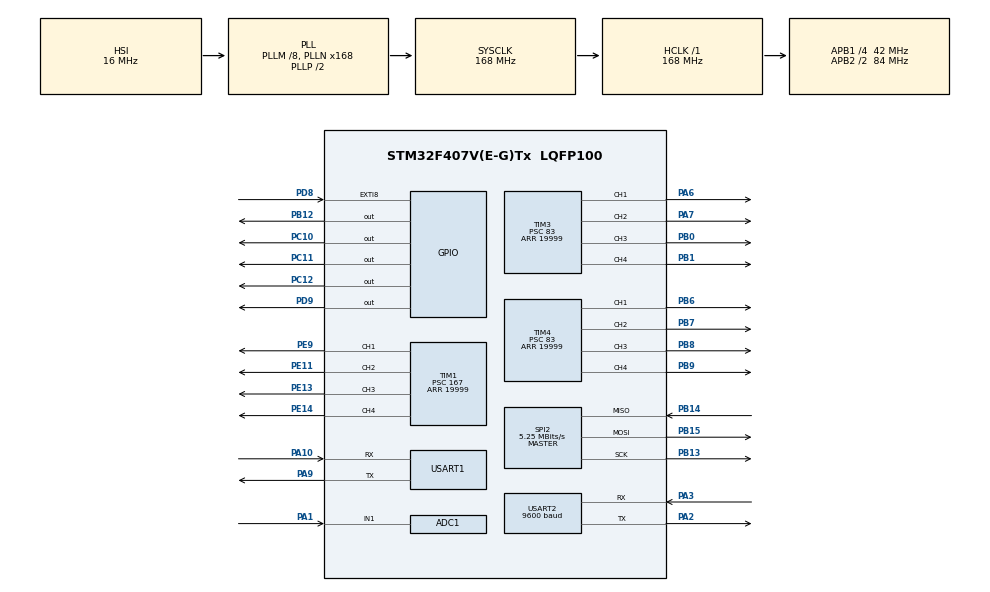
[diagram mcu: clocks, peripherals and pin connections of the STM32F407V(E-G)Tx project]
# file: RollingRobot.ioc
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ADC1.Channel-3\#ChannelRegularConversion=ADC_CHANNEL_1
ADC1.ClockPrescaler=ADC_CLOCK_SYNC_PCLK_DIV6
ADC1.ContinuousConvMode=DISABLE
ADC1.DMAContinuousRequests=ENABLE
ADC1.EnableAnalogWatchDog=false
ADC1.ExternalTrigConv=ADC_EXTERNALTRIGCONV_T8_TRGO
ADC1.NbrOfConversion=1
ADC1.NbrOfConversionFlag=1
ADC1.Rank-3\#ChannelRegularConversion=1
ADC1.SamplingTime-3\#ChannelRegularConversion=ADC_SAMPLETIME_144CYCLES
ADC1.master=1
Dma.ADC1.0.Direction=DMA_PERIPH_TO_MEMORY
Dma.ADC1.0.FIFOMode=DMA_FIFOMODE_DISABLE
Dma.ADC1.0.Instance=DMA2_Stream0
Dma.ADC1.0.MemDataAlignment=DMA_MDATAALIGN_HALFWORD
Dma.ADC1.0.MemInc=DMA_MINC_ENABLE
Dma.ADC1.0.Mode=DMA_CIRCULAR
Dma.ADC1.0.PeriphDataAlignment=DMA_PDATAALIGN_HALFWORD
Dma.ADC1.0.PeriphInc=DMA_PINC_DISABLE
Dma.ADC1.0.Priority=DMA_PRIORITY_LOW
Dma.Request0=ADC1
FREERTOS.Tasks01=defaultTask,24,128,StartDefaultTask,Default,NULL,Dynamic,NULL,NULL
Mcu.Family=STM32F4
Mcu.Name=STM32F407V(E-G)Tx
Mcu.Package=LQFP100
NVIC.DMA2_Stream0_IRQn=true\:5\:0\:false\:false\:true\:true\:false\:true\:true
NVIC.EXTI9_5_IRQn=true\:5\:0\:false\:false\:true\:true\:true\:true\:true
NVIC.PriorityGroup=NVIC_PRIORITYGROUP_4
NVIC.TIM8_TRG_COM_TIM14_IRQn=true\:5\:0\:false\:false\:true\:false\:false\:true\:true
NVIC.TimeBase=TIM8_TRG_COM_TIM14_IRQn
NVIC.TimeBaseIP=TIM14
NVIC.USART2_IRQn=true\:5\:0\:true\:false\:true\:true\:true\:true\:true
PA1.Signal=ADCx_IN1
PA10.Mode=Asynchronous
PA10.Signal=USART1_RX
PA13.Mode=Serial_Wire
PA13.Signal=SYS_JTMS-SWDIO
PA14.Mode=Serial_Wire
PA14.Signal=SYS_JTCK-SWCLK
PA2.Mode=Asynchronous
PA2.Signal=USART2_TX
PA3.Mode=Asynchronous
PA3.Signal=USART2_RX
PA6.Signal=S_TIM3_CH1
PA7.Signal=S_TIM3_CH2
PA9.Mode=Asynchronous
PA9.Signal=USART1_TX
PB0.Signal=S_TIM3_CH3
PB1.Signal=S_TIM3_CH4
PB12.Signal=GPIO_Output
PB13.Mode=Full_Duplex_Master
PB13.Signal=SPI2_SCK
PB14.Mode=Full_Duplex_Master
PB14.Signal=SPI2_MISO
PB15.Mode=Full_Duplex_Master
PB15.Signal=SPI2_MOSI
PB6.Signal=S_TIM4_CH1
PB7.Signal=S_TIM4_CH2
PB8.Signal=S_TIM4_CH3
PB9.Signal=S_TIM4_CH4
PC10.GPIO_ModeDefaultOutputPP=GPIO_MODE_OUTPUT_OD
PC10.GPIO_PuPd=GPIO_NOPULL
PC10.GPIO_Speed=GPIO_SPEED_FREQ_HIGH
PC10.Signal=GPIO_Output
PC11.GPIO_ModeDefaultOutputPP=GPIO_MODE_OUTPUT_OD
PC11.GPIO_PuPd=GPIO_NOPULL
PC11.GPIO_Speed=GPIO_SPEED_FREQ_HIGH
PC11.Signal=GPIO_Output
PC12.GPIO_Speed=GPIO_SPEED_FREQ_HIGH
PC12.Signal=GPIO_Output
PD8.GPIO_ModeDefaultEXTI=GPIO_MODE_IT_FALLING
PD8.GPIO_PuPd=GPIO_PULLUP
PD8.Signal=GPXTI8
PD9.GPIO_Speed=GPIO_SPEED_FREQ_HIGH
PD9.Signal=GPIO_Output
PE11.Signal=S_TIM1_CH2
PE13.Signal=S_TIM1_CH3
PE14.Signal=S_TIM1_CH4
PE9.Signal=S_TIM1_CH1
PH0-OSC_IN.Mode=HSE-External-Oscillator
PH0-OSC_IN.Signal=RCC_OSC_IN
PH1-OSC_OUT.Mode=HSE-External-Oscillator
PH1-OSC_OUT.Signal=RCC_OSC_OUT
ProjectManager.HeapSize=0x200
ProjectManager.StackSize=0x400
ProjectManager.TargetToolchain=MDK-ARM V5.27
RCC.48MHZClocksFreq_Value=84000000
RCC.AHBFreq_Value=168000000
RCC.APB1CLKDivider=RCC_HCLK_DIV4
RCC.APB1Freq_Value=42000000
RCC.APB1TimFreq_Value=84000000
RCC.APB2CLKDivider=RCC_HCLK_DIV2
RCC.APB2Freq_Value=84000000
RCC.APB2TimFreq_Value=168000000
RCC.CortexFreq_Value=168000000
RCC.HCLKFreq_Value=168000000
RCC.HSE_VALUE=8000000
RCC.HSI_VALUE=16000000
RCC.LSE_VALUE=32768
RCC.PLLM=8
RCC.PLLN=168
RCC.SYSCLKFreq_VALUE=168000000
RCC.SYSCLKSource=RCC_SYSCLKSOURCE_PLLCLK
RCC.VCOOutputFreq_Value=336000000
SH.ADCx_IN1.0=ADC1_IN1,IN1
SH.S_TIM1_CH1.0=TIM1_CH1,PWM Generation1 CH1
SH.S_TIM1_CH2.0=TIM1_CH2,PWM Generation2 CH2
SH.S_TIM1_CH3.0=TIM1_CH3,PWM Generation3 CH3
SH.S_TIM1_CH4.0=TIM1_CH4,PWM Generation4 CH4
SH.S_TIM3_CH1.0=TIM3_CH1,PWM Generation1 CH1
SH.S_TIM3_CH2.0=TIM3_CH2,PWM Generation2 CH2
SH.S_TIM3_CH3.0=TIM3_CH3,PWM Generation3 CH3
SH.S_TIM3_CH4.0=TIM3_CH4,PWM Generation4 CH4
SH.S_TIM4_CH1.0=TIM4_CH1,PWM Generation1 CH1
SH.S_TIM4_CH2.0=TIM4_CH2,PWM Generation2 CH2
SH.S_TIM4_CH3.0=TIM4_CH3,PWM Generation3 CH3
SH.S_TIM4_CH4.0=TIM4_CH4,PWM Generation4 CH4
SPI2.BaudRatePrescaler=SPI_BAUDRATEPRESCALER_8
SPI2.CalculateBaudRate=5.25 MBits/s
SPI2.Direction=SPI_DIRECTION_2LINES
SPI2.Mode=SPI_MODE_MASTER
SPI2.VirtualType=VM_MASTER
TIM1.AutoReloadPreload=TIM_AUTORELOAD_PRELOAD_DISABLE
TIM1.Channel-PWM\ Generation1\ CH1=TIM_CHANNEL_1
TIM1.Channel-PWM\ Generation2\ CH2=TIM_CHANNEL_2
TIM1.Channel-PWM\ Generation3\ CH3=TIM_CHANNEL_3
TIM1.Channel-PWM\ Generation4\ CH4=TIM_CHANNEL_4
TIM1.Period=19999
TIM1.Prescaler=167
TIM3.AutoReloadPreload=TIM_AUTORELOAD_PRELOAD_DISABLE
TIM3.Channel-PWM\ Generation1\ CH1=TIM_CHANNEL_1
TIM3.Channel-PWM\ Generation2\ CH2=TIM_CHANNEL_2
TIM3.Channel-PWM\ Generation3\ CH3=TIM_CHANNEL_3
TIM3.Channel-PWM\ Generation4\ CH4=TIM_CHANNEL_4
TIM3.Period=19999
TIM3.Prescaler=83
TIM4.AutoReloadPreload=TIM_AUTORELOAD_PRELOAD_DISABLE
TIM4.Channel-PWM\ Generation1\ CH1=TIM_CHANNEL_1
TIM4.Channel-PWM\ Generation2\ CH2=TIM_CHANNEL_2
TIM4.Channel-PWM\ Generation3\ CH3=TIM_CHANNEL_3
TIM4.Channel-PWM\ Generation4\ CH4=TIM_CHANNEL_4
TIM4.Period=19999
TIM4.Prescaler=83
TIM8.Period=99
TIM8.Prescaler=16799
TIM8.TIM_MasterOutputTrigger=TIM_TRGO_UPDATE
TIM8.TIM_MasterSlaveMode=TIM_MASTERSLAVEMODE_DISABLE
USART1.VirtualMode=VM_ASYNC
USART2.BaudRate=9600
USART2.VirtualMode=VM_ASYNC
VP_FREERTOS_VS_CMSIS_V2.Mode=CMSIS_V2
VP_SYS_VS_tim14.Mode=TIM14
VP_TIM8_VS_ClockSourceINT.Mode=Internal
board=custom

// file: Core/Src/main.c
/* USER CODE BEGIN Header */
/**
  ******************************************************************************
  * @file           : main.c
  * @brief          : Main program body
  ******************************************************************************
  * @attention
  *
  * Copyright (c) 2025 STMicroelectronics.
  * All rights reserved.
  *
  * This software is licensed under terms that can be found in the LICENSE file
  * in the root directory of this software component.
  * If no LICENSE file comes with this software, it is provided AS-IS.
  *
  ******************************************************************************
  */
/* USER CODE END Header */
#include "main.h"
#include "cmsis_os.h"
#include "adc.h"
#include "dma.h"
#include "spi.h"
#include "tim.h"
#include "usart.h"
#include "gpio.h"

/* USER CODE BEGIN Includes */
#include "oled.h"
#include "debug_printf.h"
#include "delay_us.h"
/* USER CODE END Includes */

void SystemClock_Config(void);
void MX_FREERTOS_Init(void);

int main(void)
{

  /* MCU Configuration--------------------------------------------------------*/

  /* Reset of all peripherals, Initializes the Flash interface and the Systick. */
  HAL_Init();

  /* Configure the system clock */
  SystemClock_Config();

  /* Initialize all configured peripherals */
  MX_GPIO_Init();
  MX_DMA_Init();
  MX_USART1_UART_Init();
  MX_USART2_UART_Init();
  MX_SPI2_Init();
  MX_ADC1_Init();
  MX_TIM8_Init();
  MX_TIM1_Init();
  MX_TIM3_Init();
  MX_TIM4_Init();
  /* USER CODE BEGIN 2 */
	dwt_init();
	oled_init();
	oled_clear();

	HAL_Delay(500);

//	debug_printf("Init Success\r\n");

  /* USER CODE END 2 */

  /* Init scheduler */
  osKernelInitialize();

  /* Call init function for freertos objects (in cmsis_os2.c) */
  MX_FREERTOS_Init();

  /* Start scheduler */
  osKernelStart();

  /* We should never get here as control is now taken by the scheduler */

  /* Infinite loop */
  while (1)
  {

  }
}

void SystemClock_Config(void)
{
  RCC_OscInitTypeDef RCC_OscInitStruct = {0};
  RCC_ClkInitTypeDef RCC_ClkInitStruct = {0};

  /** Configure the main internal regulator output voltage
  */
  __HAL_RCC_PWR_CLK_ENABLE();
  __HAL_PWR_VOLTAGESCALING_CONFIG(PWR_REGULATOR_VOLTAGE_SCALE1);

  /** Initializes the RCC Oscillators according to the specified parameters
  * in the RCC_OscInitTypeDef structure.
  */
  RCC_OscInitStruct.OscillatorType = RCC_OSCILLATORTYPE_HSI;
  RCC_OscInitStruct.HSIState = RCC_HSI_ON;
  RCC_OscInitStruct.HSICalibrationValue = RCC_HSICALIBRATION_DEFAULT;
  RCC_OscInitStruct.PLL.PLLState = RCC_PLL_ON;
  RCC_OscInitStruct.PLL.PLLSource = RCC_PLLSOURCE_HSI;
  RCC_OscInitStruct.PLL.PLLM = 8;
  RCC_OscInitStruct.PLL.PLLN = 168;
  RCC_OscInitStruct.PLL.PLLP = RCC_PLLP_DIV2;
  RCC_OscInitStruct.PLL.PLLQ = 4;
  if (HAL_RCC_OscConfig(&RCC_OscInitStruct) != HAL_OK)
  {
    Error_Handler();
  }

  /** Initializes the CPU, AHB and APB buses clocks
  */
  RCC_ClkInitStruct.ClockType = RCC_CLOCKTYPE_HCLK|RCC_CLOCKTYPE_SYSCLK
                              |RCC_CLOCKTYPE_PCLK1|RCC_CLOCKTYPE_PCLK2;
  RCC_ClkInitStruct.SYSCLKSource = RCC_SYSCLKSOURCE_PLLCLK;
  RCC_ClkInitStruct.AHBCLKDivider = RCC_SYSCLK_DIV1;
  RCC_ClkInitStruct.APB1CLKDivider = RCC_HCLK_DIV4;
  RCC_ClkInitStruct.APB2CLKDivider = RCC_HCLK_DIV2;

  if (HAL_RCC_ClockConfig(&RCC_ClkInitStruct, FLASH_LATENCY_5) != HAL_OK)
  {
    Error_Handler();
  }
}

void HAL_TIM_PeriodElapsedCallback(TIM_HandleTypeDef *htim)
{
  if (htim->Instance == TIM14) {
    HAL_IncTick();
  }
}

void Error_Handler(void)
{
  __disable_irq();
  while (1)
  {
  }
}

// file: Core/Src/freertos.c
/* USER CODE BEGIN Header */
/**
  ******************************************************************************
  * File Name          : freertos.c
  * Description        : Code for freertos applications
  ******************************************************************************
  * @attention
  *
  * Copyright (c) 2025 STMicroelectronics.
  * All rights reserved.
  *
  * This software is licensed under terms that can be found in the LICENSE file
  * in the root directory of this software component.
  * If no LICENSE file comes with this software, it is provided AS-IS.
  *
  ******************************************************************************
  */
/* USER CODE END Header */

#include "FreeRTOS.h"
#include "task.h"
#include "main.h"
#include "cmsis_os.h"

/* USER CODE BEGIN Includes */
#include "oled.h"
#include "wit_imu.h"
#include "nrf_recv.h"
#include "nrf_send.h"
#include "pump_charge.h"
#include "servo_move.h"
/* USER CODE END Includes */

/* Definitions for defaultTask */
osThreadId_t defaultTaskHandle;
const osThreadAttr_t defaultTask_attributes = {
  .name = "defaultTask",
  .stack_size = 128 * 4,
  .priority = (osPriority_t) osPriorityNormal,
};

void StartDefaultTask(void *argument);

void MX_FREERTOS_Init(void); /* (MISRA C 2004 rule 8.1) */

void MX_FREERTOS_Init(void) {
  /* USER CODE BEGIN Init */
//	oled_init();
//	oled_clear();
//
//	oled_show_string(1, 1, "Init Success");
  /* USER CODE END Init */

  /* Create the thread(s) */
  /* creation of defaultTask */
  defaultTaskHandle = osThreadNew(StartDefaultTask, NULL, &defaultTask_attributes);

  /* USER CODE BEGIN RTOS_THREADS */
  /* add threads, ... */
	xTaskCreate(imu_task, "wit_imu", 512, NULL, osPriorityNormal, NULL);
	xTaskCreate(nrf_recvtask, "nrf_recv", 128, NULL, osPriorityNormal, NULL);
	xTaskCreate(charge_task, "charge_task", 128, NULL, osPriorityNormal, NULL);
	xTaskCreate(nrf_sendtask, "nrf_send", 128, NULL, osPriorityNormal, NULL);
	xTaskCreate(move_task, "move_task", 512, NULL, osPriorityNormal, NULL);
  /* USER CODE END RTOS_THREADS */

}

void StartDefaultTask(void *argument)
{
  for(;;)
  {
    osDelay(1);
  }
}
